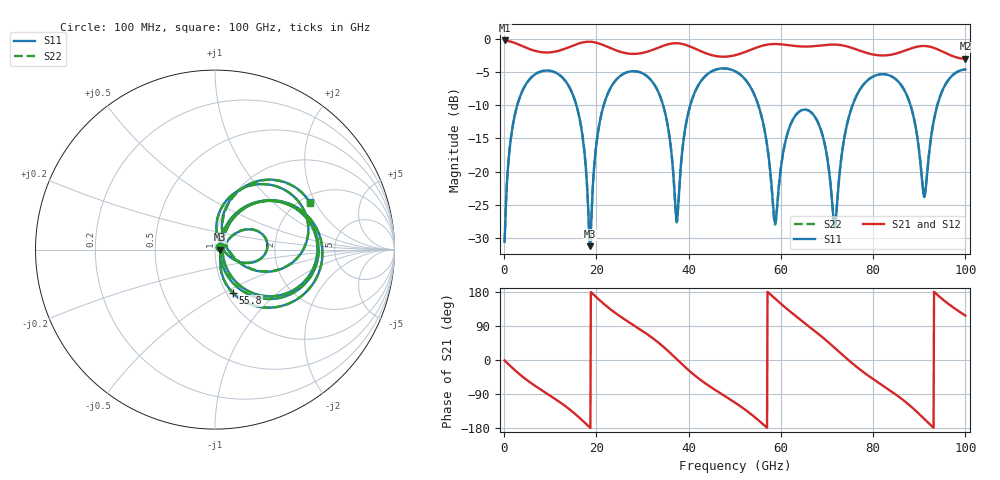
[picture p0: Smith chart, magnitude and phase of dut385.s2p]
! Touchstone file exported from HFSS 2026.1.0
!  File:  C:/ffzhzh/LocalFiles/Ansys_Project_Files/temp_train_TSV_RDL_385_1783716782_44652.aedt
!  Generated:  05:01:13 AM Jul 11, 2026
!  Design:  TSV_RDL
!  Project:  temp_train_TSV_RDL_385_1783716782_44652
! Variables:
!  h_bsmrdl = 2.08um
!  h_ox = 20um
!  h_rdl = 5um
!  h_sub = 53.18um
!  h_tmrdl = 4.12um
!  h_tsv = 53.18um
!  h_via = 3um
!  l_bsmrdl = 643.57um
!  l_sub = 3406.24um
!  l_tmrdl = 245.52um
!  m_sub = 200um
!  pitch = 40.71um
!  r_tsv = 6.46um
!  s_tmrdl = 10um
!  w_bsmrdl = 16.72um
!  w_sub = 500um
!  w_tmrdl = 14.43um
!  x_tsv_center1 = 252.735um
!  x_tsv_center2 = 913.025um
!  x_tsv_center3 = 1172.975um
!  x_tsv_center4 = 1833.265um
!  x_tsv_center5 = 2093.215um
!  x_tsv_center6 = 2753.505um
# GHz S MA R 50.000000
! Terminal data exported
! Port[1] = TM_RDL1_1_T1
! Port[2] = TM_RDL5_1_T1
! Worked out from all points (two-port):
!   1000 points, 100 MHz to 100 GHz, reference 50 ohm
!   highest |S21| = -0.23 dB at 100 MHz (marker M1); lowest = -3.0 dB at 100 GHz (marker M2)
!   |S21| within 3 dB of the highest: start of sweep to end of sweep
!   lowest |S11| = -31.3 dB at 18.6 GHz (marker M3), VSWR 1.06, Z = 52.8 - j0.00231 ohm
!   |S11| at or under -10 dB: 15.66 GHz to 21.58 GHz (5.923 GHz wide, 31.8 % of centre); 34.46 GHz to 40.35 GHz (5.888 GHz wide, 15.7 % of centre); 55.11 GHz to 75.53 GHz (20.42 GHz wide, 31.3 % of centre) (the widest 3 of 5)
!   |S22| runs from -31.0 to -4.4 dB; largest |S21 - S12| = 3.9e-13
!   S11 on the Smith chart (normalised r, x): 100 MHz: 1.05, +0.03; 55.8 GHz: 1.07, -0.56; 100 GHz: 2.23, +1.80
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0.1  0.02954 25.3  0.9735 -1.2  0.9735 -1.2  0.02954 25.3
! Gamma 0 0 0 0
! Port Impedance 50 0 50 0
1.9  0.2251 59.7  0.9428 -22.2  0.9428 -22.2  0.2251 59.7
5.4  0.4908 29.6  0.8413 -57.0  0.8413 -57.0  0.4908 29.6
10.6  0.5673 -10.4  0.7964 -99.2  0.7964 -99.2  0.5673 -10.4
16.8  0.2055 -62.2  0.9368 -157.6  0.9368 -157.6  0.2056 -62.0
18.6  0.02737 -0.0  0.9517 -178.4  0.9517 -178.4  0.02816 -0.1
23  0.4224 40.3  0.8539 134.2  0.8539 134.2  0.4225 40.2
33.4  0.3995 -40.6  0.8582 46.4  0.8582 46.4  0.3996 -40.7
37.4  0.04219 -1.9  0.928 2.5  0.928 2.5  0.04137 -2.3
41.4  0.4009 43.0  0.8439 -41.4  0.8439 -41.4  0.4006 43.1
50.1  0.5698 -22.1  0.7538 -112.8  0.7538 -112.8  0.5696 -22.1
55.8  0.261 -67.5  0.8848 -166.0  0.8848 -166.0  0.2607 -67.7
58.8  0.04132 -11.1  0.9154 161.4  0.9154 161.4  0.04003 -10.6
61.8  0.2125 31.9  0.8953 129.9  0.8953 129.9  0.2125 32.3
66.7  0.2764 -6.3  0.8791 82.9  0.8791 82.9  0.2765 -6.0
71.7  0.03792 33.2  0.9062 31.6  0.9062 31.6  0.03901 33.0
75.7  0.3279 71.7  0.8486 -11.0  0.8486 -11.0  0.3279 71.6
83.4  0.5325 12.4  0.7556 -78.2  0.7556 -78.2  0.5327 12.5
88.1  0.3158 -23.0  0.8449 -121.6  0.8449 -121.6  0.3165 -22.6
91.1  0.06419 24.4  0.8843 -155.6  0.8843 -155.6  0.0674 24.2
94.4  0.3588 67.6  0.822 166.9  0.822 166.9  0.3591 67.1
100  0.589 26.5  0.7078 117.2  0.7078 117.2  0.589 26.2
